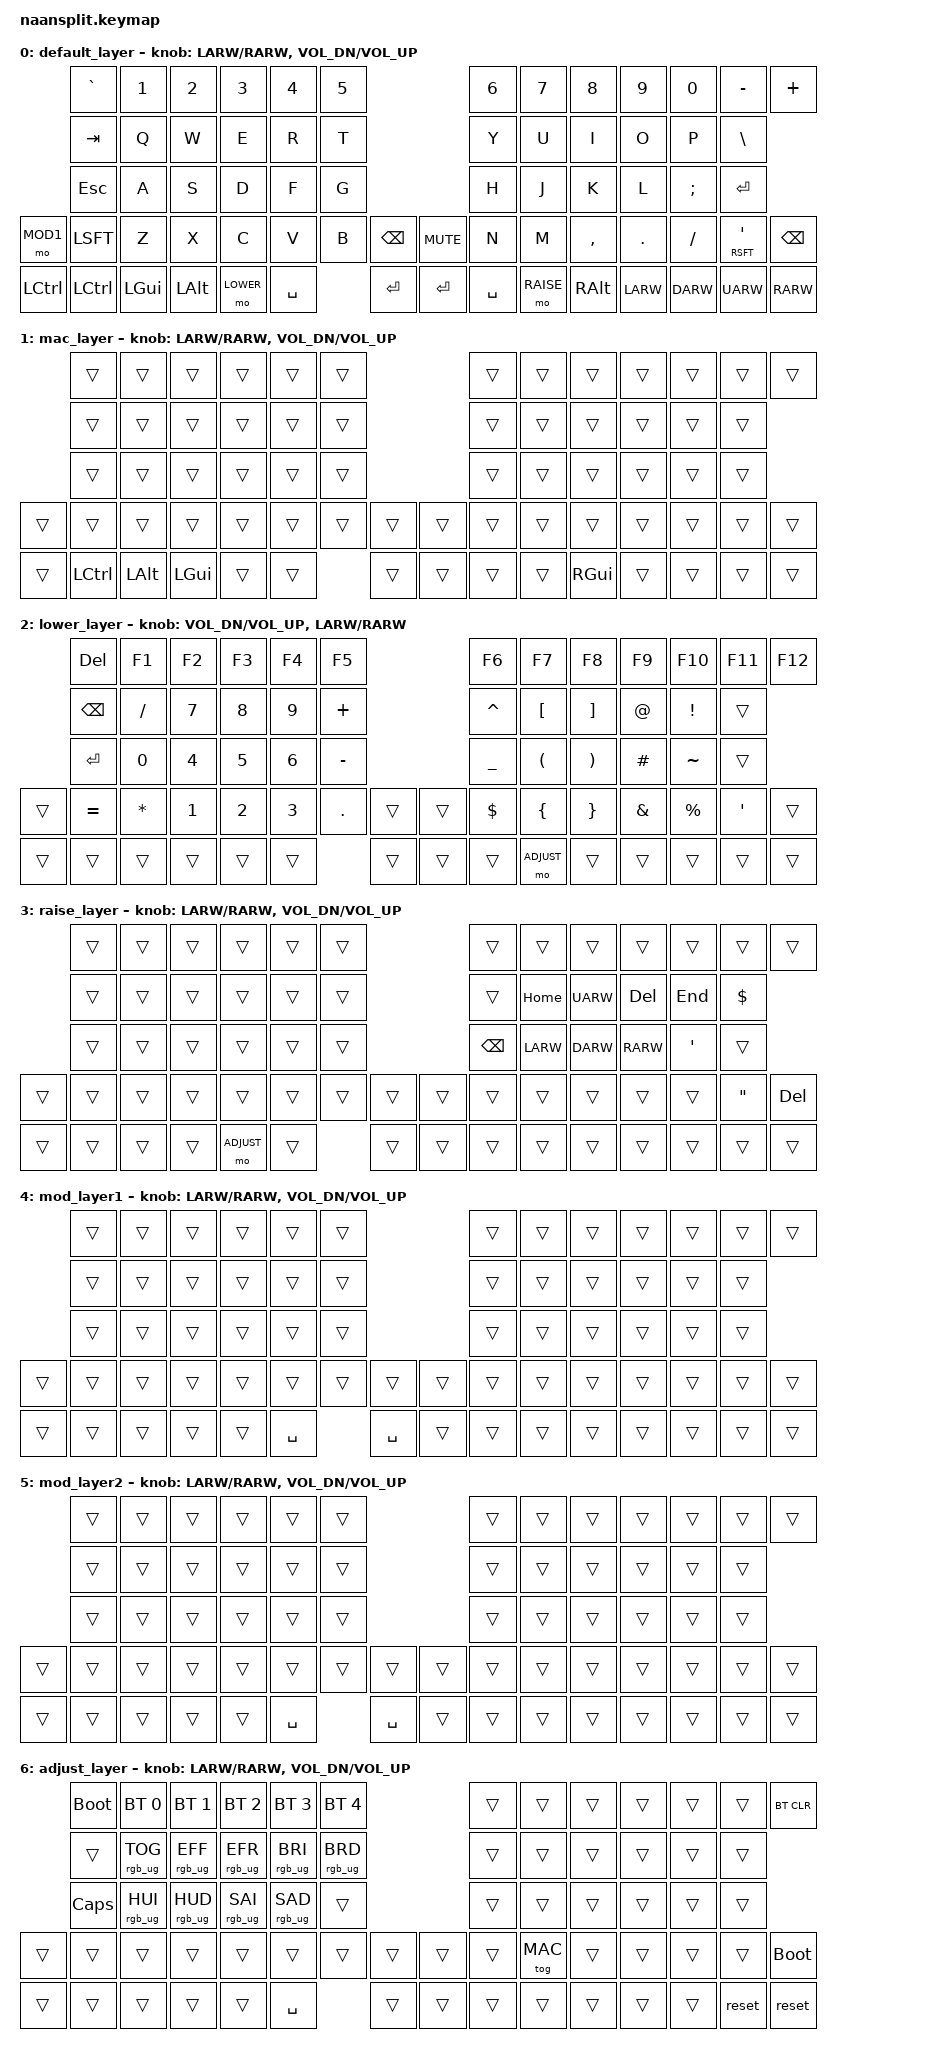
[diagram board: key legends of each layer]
/*
 * Copyright (c) 2020 dELLIKEEb
 *
 * SPDX-License-Identifier: MIT
 */

#include <behaviors.dtsi>
#include <dt-bindings/zmk/keys.h>
#include <dt-bindings/zmk/bt.h>
#include <dt-bindings/zmk/rgb.h>

// custom keycode defs for easier access
#define DEFAULT 0
#define MAC     1
#define LOWER   2
#define RAISE   3
#define MOD1    4
#define MOD2    5
#define ADJUST  6

// / {
//     behaviors {
//         hm: homerow_mods {
//             compatible = "zmk,behavior-hold-tap";
//             label = "homerow mods";
//             #binding-cells = <2>;
//             tapping_term_ms = <225>;
//             flavor = "tap-preferred";
//             bindings = <&kp>, <&kp>;
//         };
//     };
// };

// BASE
//            -------------------------------------------------                         ----------------------------------------------------------
//            |   `   |   1   |   2   |   3   |   4   |   5   |                         |   6   |   7   |   8   |   9   |   0   |   -   |  PLUS  |
//        -----------------------------------------------------                         -----------------------------------------------------
//        |   Tab     |   Q   |   W   |   E   |   R   |   T   |                         |   Y   |   U   |   I   |   O   |   P   |    BSLH   |
//      -------------------------------------------------------                         ------------------------------------------------------------
//      |    Esc      |   A   |   S   |   D   |   F   |   G   |                         |   H   |   J   |   K   |   L   |   ;   |      Enter       |
// ---------------------------------------------------------------------       ---------------------------------------------------------------------
// |   MO  |  Shift   |   Z   |   X   |   C   |   V   |   B   |   BSP  |       |  MUTE  |   N   |   M   |   ,   |   .   |   /   |   Shift   |  BSPC  |
// --------------------------------------------------------------------        ------------------------------------------------------------------------
// |   MO  |   Ctrl   |   GUI   |    Alt   |  Lower |  Space  |   ENT  |       |   V    | Space   | Raise |   Alt   |  DOWN |  UP   |  LEFT   |  RIGHT |
// --------------------------------------------------------------------        -------------------------------------------------------------------------
// 

/ {
    keymap {
        compatible = "zmk,keymap";

        default_layer {
            bindings = <
                            &kp GRAV    &kp N1      &kp N2      &kp N3      &kp N4      &kp N5                              &kp N6      &kp N7      &kp N8      &kp N9      &kp N0      &kp MINUS       &kp PLUS  
                            &kp TAB     &kp Q       &kp W       &kp E       &kp R       &kp T                               &kp Y       &kp U       &kp I       &kp O       &kp P       &kp BSLH
                            &kp ESC     &kp A       &kp S       &kp D       &kp F       &kp G                               &kp H       &kp J       &kp K       &kp L       &kp SCLN    &kp RET
                &mo MOD1    &kp LSFT    &kp Z       &kp X       &kp C       &kp V       &kp B       &kp BKSP    &kp C_MUTE  &kp N       &kp M       &kp CMMA    &kp DOT     &kp FSLH    &mt RSFT SQT    &kp BKSP
                &kp LCTL    &kp LCTL    &kp LGUI    &kp LALT    &mo LOWER   &kp SPC                 &kp RET     &kp RET     &kp SPC     &mo RAISE   &kp RALT    &kp LARW    &kp DARW    &kp UARW        &kp RARW
            >;
            sensor-bindings = <&inc_dec_kp LARW RARW &inc_dec_kp C_VOL_DN C_VOL_UP>;
        };

        mac_layer {
            bindings = <
                            &trans      &trans      &trans      &trans      &trans      &trans                              &trans      &trans      &trans      &trans      &trans      &trans      &trans  
                            &trans      &trans      &trans      &trans      &trans      &trans                              &trans      &trans      &trans      &trans      &trans      &trans
                            &trans      &trans      &trans      &trans      &trans      &trans                              &trans      &trans      &trans      &trans      &trans      &trans
                &trans      &trans      &trans      &trans      &trans      &trans      &trans      &trans      &trans      &trans      &trans      &trans      &trans      &trans      &trans      &trans
                &trans      &kp LCTL    &kp LALT    &kp LGUI    &trans          &trans              &trans      &trans      &trans      &trans      &kp RGUI    &trans      &trans      &trans      &trans
            >;
            sensor-bindings = <&inc_dec_kp LARW RARW &inc_dec_kp C_VOL_DN C_VOL_UP>;
        };

        lower_layer {
            bindings = <
                            &kp DEL     &kp F1      &kp F2      &kp F3      &kp F4      &kp F5                              &kp F6      &kp F7      &kp F8      &kp F9      &kp F10     &kp F11     &kp F12  
                            &kp BKSP    &kp FSLH    &kp NUM_7   &kp NUM_8   &kp NUM_9   &kp PLUS                            &kp CARET   &kp LBKT    &kp RBKT    &kp AT      &kp EXCL    &trans      
                            &kp RET     &kp NUM_0   &kp NUM_4   &kp NUM_5   &kp NUM_6   &kp MINUS                           &kp UNDER   &kp LPAR    &kp RPAR    &kp HASH    &kp TILDE   &trans      
                &trans      &kp EQUAL   &kp STAR    &kp NUM_1   &kp NUM_2   &kp NUM_3   &kp DOT     &trans      &trans      &kp DOLLAR  &kp LBRC    &kp RBRC    &kp AMPS    &kp PRCNT   &kp SQT     &trans
                &trans      &trans      &trans      &trans      &trans          &trans              &trans      &trans      &trans      &mo ADJUST  &trans      &trans      &trans      &trans      &trans      
            >;
            sensor-bindings = <&inc_dec_kp C_VOL_DN C_VOL_UP &inc_dec_kp LARW RARW>;
        };

        raise_layer {
            bindings = <
                            &trans      &trans      &trans      &trans      &trans      &trans                              &trans      &trans      &trans      &trans      &trans      &trans      &trans  
                            &trans      &trans      &trans      &trans      &trans      &trans                              &trans      &kp HOME    &kp UARW    &kp DEL     &kp END     &kp DOLLAR
                            &trans      &trans      &trans      &trans      &trans      &trans                              &kp BSPC    &kp LARW    &kp DARW    &kp RARW    &kp APOS    &trans 
                &trans      &trans      &trans      &trans      &trans      &trans      &trans      &trans      &trans      &trans      &trans      &trans      &trans      &trans      &kp DQT     &kp DEL 
                &trans      &trans      &trans      &trans      &mo ADJUST      &trans              &trans      &trans      &trans      &trans      &trans      &trans      &trans      &trans      &trans
            >;
            sensor-bindings = <&inc_dec_kp LARW RARW &inc_dec_kp C_VOL_DN C_VOL_UP>;
        };

        mod_layer1 {
            bindings = <
                            &trans      &trans      &trans      &trans      &trans      &trans                              &trans      &trans      &trans      &trans      &trans      &trans      &trans  
                            &trans      &trans      &trans      &trans      &trans      &trans                              &trans      &trans      &trans      &trans      &trans      &trans
                            &trans      &trans      &trans      &trans      &trans      &trans                              &trans      &trans      &trans      &trans      &trans      &trans
                &trans      &trans      &trans      &trans      &trans      &trans      &trans      &trans      &trans      &trans      &trans      &trans      &trans      &trans      &trans      &trans
                &trans      &trans      &trans      &trans      &trans          &kp SPC             &kp SPC     &trans      &trans      &trans      &trans      &trans      &trans      &trans      &trans
            >;
            sensor-bindings = <&inc_dec_kp LARW RARW &inc_dec_kp C_VOL_DN C_VOL_UP>;
        };

        
        mod_layer2 {
            bindings = <
                            &trans      &trans      &trans      &trans      &trans      &trans                              &trans      &trans      &trans      &trans      &trans      &trans      &trans  
                            &trans      &trans      &trans      &trans      &trans      &trans                              &trans      &trans      &trans      &trans      &trans      &trans
                            &trans      &trans      &trans      &trans      &trans      &trans                              &trans      &trans      &trans      &trans      &trans      &trans
                &trans      &trans      &trans      &trans      &trans      &trans      &trans      &trans      &trans      &trans      &trans      &trans      &trans      &trans      &trans      &trans
                &trans      &trans      &trans      &trans      &trans          &kp SPC             &kp SPC     &trans      &trans      &trans      &trans      &trans      &trans      &trans      &trans
            >;
            sensor-bindings = <&inc_dec_kp LARW RARW &inc_dec_kp C_VOL_DN C_VOL_UP>;
        };

        adjust_layer {
            bindings = <
                            &bootloader &bt BT_SEL 0    &bt BT_SEL 1    &bt BT_SEL 2    &bt BT_SEL 3    &bt BT_SEL 4                                &trans      &trans      &trans      &trans      &trans      &trans      &bt BT_CLR        
                            &trans      &rgb_ug RGB_TOG &rgb_ug RGB_EFF &rgb_ug RGB_EFR &rgb_ug RGB_BRI &rgb_ug RGB_BRD                             &trans      &trans      &trans      &trans      &trans      &trans
                            &kp CAPS    &rgb_ug RGB_HUI &rgb_ug RGB_HUD &rgb_ug RGB_SAI &rgb_ug RGB_SAD &trans                                      &trans      &trans      &trans      &trans      &trans      &trans  
                &trans      &trans      &trans          &trans          &trans          &trans          &trans              &trans      &trans      &trans      &tog MAC    &trans      &trans      &trans      &trans      &bootloader 
                &trans      &trans      &trans          &trans          &trans                  &kp SPC                     &trans      &trans      &trans      &trans      &trans      &trans      &trans      &reset      &reset
            >;
            sensor-bindings = <&inc_dec_kp LARW RARW &inc_dec_kp C_VOL_DN C_VOL_UP>;
        };
    };
};
